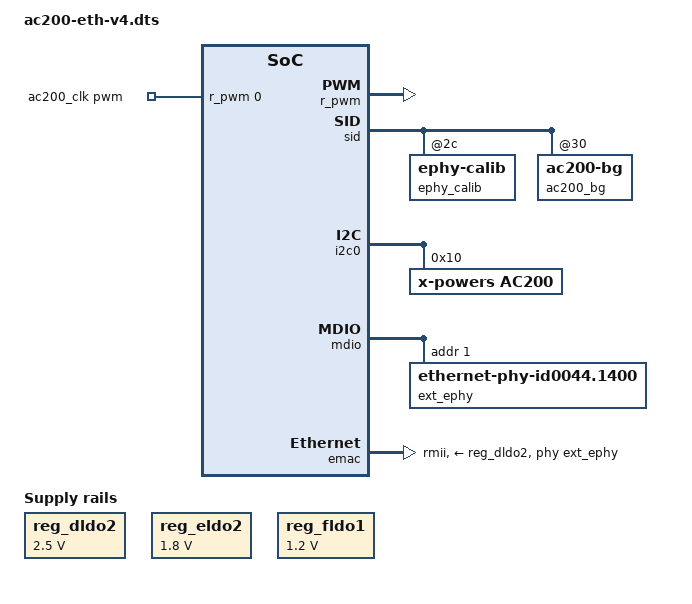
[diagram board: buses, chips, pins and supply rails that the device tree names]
/*
 * Remix Mini PC (H64 = A64): wired Ethernet through the AC200 EPHY, v4.
 * v4: the AC200 is clocked from the SoC, not a crystal. The factory Remix OS driver
 * (BSP acx00-core.c) does pwm_request(16) + pwm_config(20, 41): PWM 16 is the s_pwm
 * (factory DTB pwm-base = 0x10), i.e. R_PWM channel 0 on PL10, run at ~24 MHz.
 * Here: R_PWM in bypass (period 42 ns -> the 24 MHz oscillator straight out on PL10),
 * wrapped as a "pwm-clock" (CONFIG_COMMON_CLK_PWM) that the AC200 node consumes.
 * Factory sys_config [gmac0]: phy-mode rmii, PD10/11/13/17/18/19/20/22/23, delays 0.
 *
 * v1/v2 ran the MAC in MII mode; the board is wired for RMII (as on the H6 AC200 boxes),
 * so in MII the MAC waited for an RX/TX clock on pins nothing drives -> "EMAC reset timeout".
 * The PHY node carries no resets/clocks: phylib must not hold it in reset (see notes).
 * Build: dtc -@ -I dts -O dtb -o ac200-eth.dtbo ac200-eth-v4.dts
 */
/dts-v1/;
/plugin/;

&{/} {
	ac200_clk: ac200-clk {
		compatible = "pwm-clock";
		#clock-cells = <0>;
		clock-frequency = <24000000>;
		pwms = <&r_pwm 0 42 0>;
	};
};

&r_pwm {
	status = "okay";
};

&sid {
	ephy_calib: ephy-calib@2c { reg = <0x2c 0x2>; };
	ac200_bg: ac200-bg@30 { reg = <0x30 0x2>; };
};

&reg_dldo2 {
	regulator-min-microvolt = <2500000>;
	regulator-max-microvolt = <2500000>;
	regulator-always-on;
	regulator-name = "vcc-ephy-2v5";
};

&reg_eldo2 {
	regulator-min-microvolt = <1800000>;
	regulator-max-microvolt = <1800000>;
	regulator-always-on;
	regulator-name = "vcc-ephy-1v8";
};

&reg_fldo1 {
	regulator-min-microvolt = <1200000>;
	regulator-max-microvolt = <1200000>;
	regulator-always-on;
	regulator-name = "vcc-ephy-1v2";
};

&i2c0 {
	#address-cells = <1>;
	#size-cells = <0>;

	ac200: mfd@10 {
		compatible = "x-powers,ac200";
		reg = <0x10>;
		clocks = <&ac200_clk>;
		interrupt-controller;
		#interrupt-cells = <1>;
		nvmem-cells = <&ac200_bg>;
		nvmem-cell-names = "bandgap";

		ac200_ephy_ctl: syscon {
			compatible = "x-powers,ac200-ephy-ctl";
			nvmem-cells = <&ephy_calib>;
			nvmem-cell-names = "calibration";
			#clock-cells = <0>;
			#reset-cells = <0>;
			phy-mode = "rmii";
			x-powers,led-polarity = <0>;
			phy-address = <1>;
			status = "okay";
		};
	};
};

&mdio {
	ext_ephy: ethernet-phy@1 {
		compatible = "ethernet-phy-id0044.1400", "ethernet-phy-ieee802.3-c22";
		reg = <1>;
	};
};

&emac {
	pinctrl-names = "default";
	pinctrl-0 = <&rmii_pins>;
	phy-mode = "rmii";
	phy-handle = <&ext_ephy>;
	phy-supply = <&reg_dldo2>;
	status = "okay";
};
